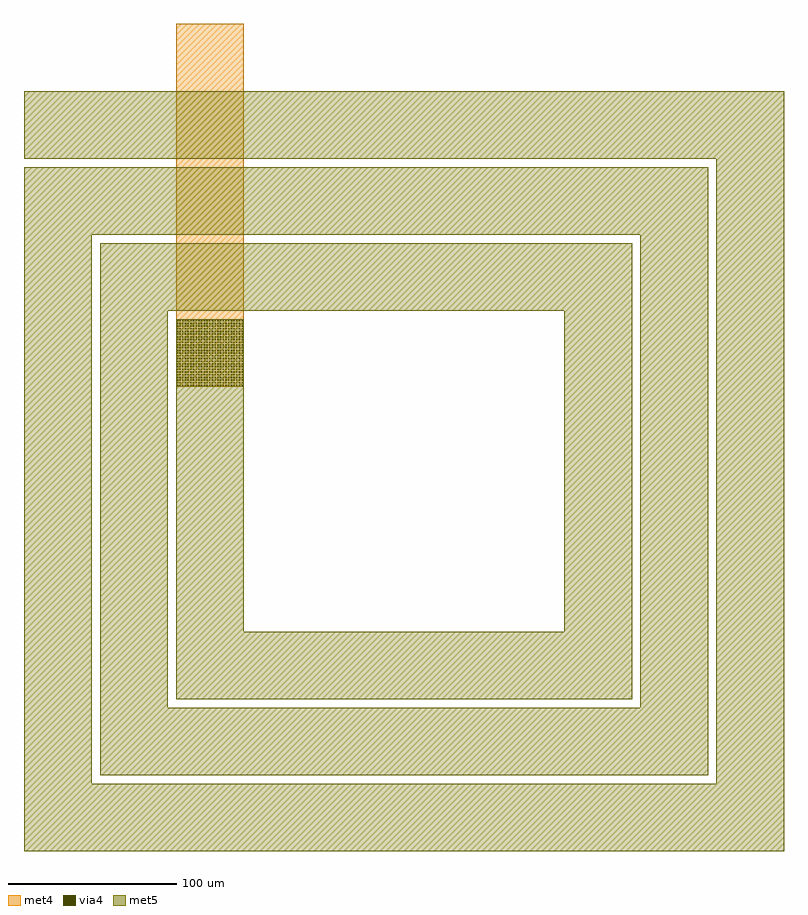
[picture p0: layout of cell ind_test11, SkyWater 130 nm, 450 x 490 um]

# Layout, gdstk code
import gdstk
lib = gdstk.Library(unit=1e-6, precision=1e-09)
def R(c, l, rs):  # rectangles x0, y0, x1, y1
    for r in rs: c.add(gdstk.rectangle(r[:2], r[2:], *l))
def A(c, l, x, y, w, h, nx, ny, dx, dy):  # array of equal rectangles
    R(c, l, [(x+i*dx, y+j*dy, x+i*dx+w, y+j*dy+h) for i in range(nx) for j in range(ny)])
def P(c, l, *ps):  # polygons
    for p in ps: c.add(gdstk.Polygon(p, *l))
met4 = (71, 20)
via4 = (71, 44)
met5 = (72, 20)

ind_test11 = lib.new_cell('ind_test11')
R(ind_test11, met4, [(121,306,161,521), (121,306.005,161,345.995)])
A(ind_test11, via4, 121.4, 306.39, 0.8, 0.8, 25, 25, 1.6, 1.6)
R(ind_test11, met5, [(121,306.005,161,345.995)])
P(ind_test11, met5, [(31,441),(31,481),(481,481),(441,441)],
  [(481,31),(441,71),(441,441),(481,481)],
  [(31,31),(71,71),(441,71),(481,31)],
  [(31,31),(31,436),(71,396),(71,71)],
  [(71,396),(31,436),(436,436),(396,396)],
  [(436,76),(396,116),(396,396),(436,436)],
  [(76,76),(116,116),(396,116),(436,76)],
  [(76,76),(76,391),(116,351),(116,116)],
  [(116,351),(76,391),(391,391),(351,351)],
  [(391,121),(351,161),(351,351),(391,391)],
  [(121,121),(161,161),(351,161),(391,121)],
  [(121,121),(121,346),(161,346),(161,161)])

lib.write_gds('ind_test11.gds')
